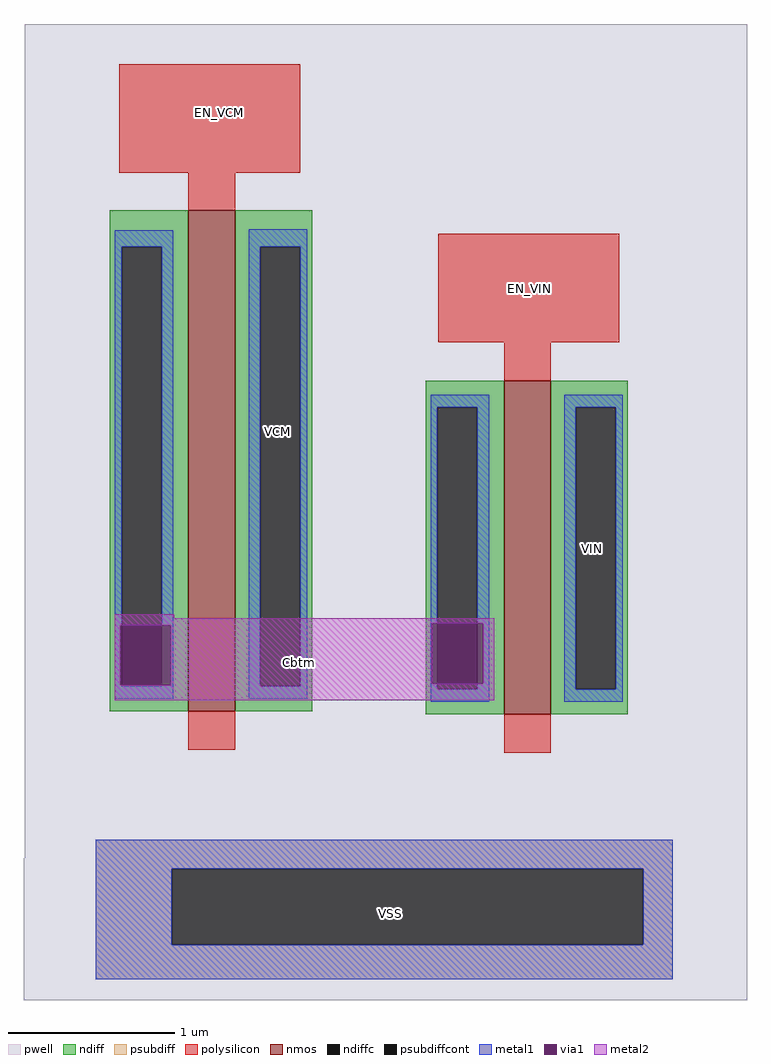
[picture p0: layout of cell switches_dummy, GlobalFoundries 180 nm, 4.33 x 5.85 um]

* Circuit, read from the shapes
.subckt switches_dummy VCM VIN EN_VCM Cbtm EN_VIN VSS
XM1 VCM EN_VCM Cbtm VSS nfet_03v3 w=3u l=0.28u
XM2 VIN EN_VIN Cbtm VSS nfet_03v3 w=2u l=0.28u
.ends

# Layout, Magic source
magic
tech gf180mcuD
magscale 1 10
<< pwell >>
rect -231 -172 634 827
rect -232 -342 634 -172
<< nmos >>
rect -35 4 21 604
rect 343 0 399 400
<< ndiff >>
rect -129 560 -35 604
rect -129 34 -115 560
rect -67 34 -35 560
rect -129 4 -35 34
rect 21 560 113 604
rect 21 34 51 560
rect 99 34 113 560
rect 21 4 113 34
rect 249 368 343 400
rect 249 30 263 368
rect 311 30 343 368
rect 249 0 343 30
rect 399 368 491 400
rect 399 30 429 368
rect 477 30 491 368
rect 399 0 491 30
<< ndiffc >>
rect -115 34 -67 560
rect 51 34 99 560
rect 263 30 311 368
rect 429 30 477 368
<< psubdiff >>
rect -146 -185 545 -150
rect -146 -276 -55 -185
rect 510 -276 545 -185
rect -146 -317 545 -276
<< psubdiffcont >>
rect -55 -276 510 -185
<< polysilicon >>
rect -118 649 99 779
rect -35 604 21 649
rect 264 446 481 576
rect 343 400 399 446
rect -35 -42 21 4
rect 343 -46 399 0
<< metal1 >>
rect -123 560 -53 580
rect -123 107 -115 560
rect -67 107 -53 560
rect -123 35 -117 107
rect -56 35 -53 107
rect -123 34 -115 35
rect -67 34 -53 35
rect -123 19 -53 34
rect 37 560 107 581
rect 37 34 51 560
rect 99 34 107 560
rect 37 19 107 34
rect 255 368 325 383
rect 255 109 263 368
rect 311 109 325 368
rect 255 37 257 109
rect 318 37 325 109
rect 255 30 263 37
rect 311 30 325 37
rect 255 15 325 30
rect 415 368 485 383
rect 415 30 429 368
rect 477 30 485 368
rect 415 15 485 30
rect -146 -185 545 -150
rect -146 -276 -55 -185
rect 510 -276 545 -185
rect -146 -317 545 -276
<< via1 >>
rect -117 35 -115 107
rect -115 35 -67 107
rect -67 35 -56 107
rect 257 37 263 109
rect 263 37 311 109
rect 311 37 318 109
<< metal2 >>
rect -123 115 -52 120
rect -123 109 331 115
rect -123 107 257 109
rect -123 35 -117 107
rect -56 37 257 107
rect 318 37 331 109
rect -56 35 331 37
rect -123 17 331 35
<< labels >>
flabel metal1 44 126 99 553 0 FreeSans 160 0 0 0 VCM
port 1 nsew
flabel metal1 422 31 476 366 0 FreeSans 160 0 0 0 VIN
port 2 nsew
flabel polysilicon -81 678 86 764 0 FreeSans 320 0 0 0 EN_VCM
port 3 nsew
flabel metal2 -21 27 217 98 0 FreeSans 160 0 0 0 Cbtm
port 4 nsew
flabel polysilicon 293 466 454 555 0 FreeSans 160 0 0 0 EN_VIN
port 5 nsew
flabel metal1 -89 -303 503 -174 0 FreeSans 320 0 0 0 VSS
port 6 nsew
<< end >>
